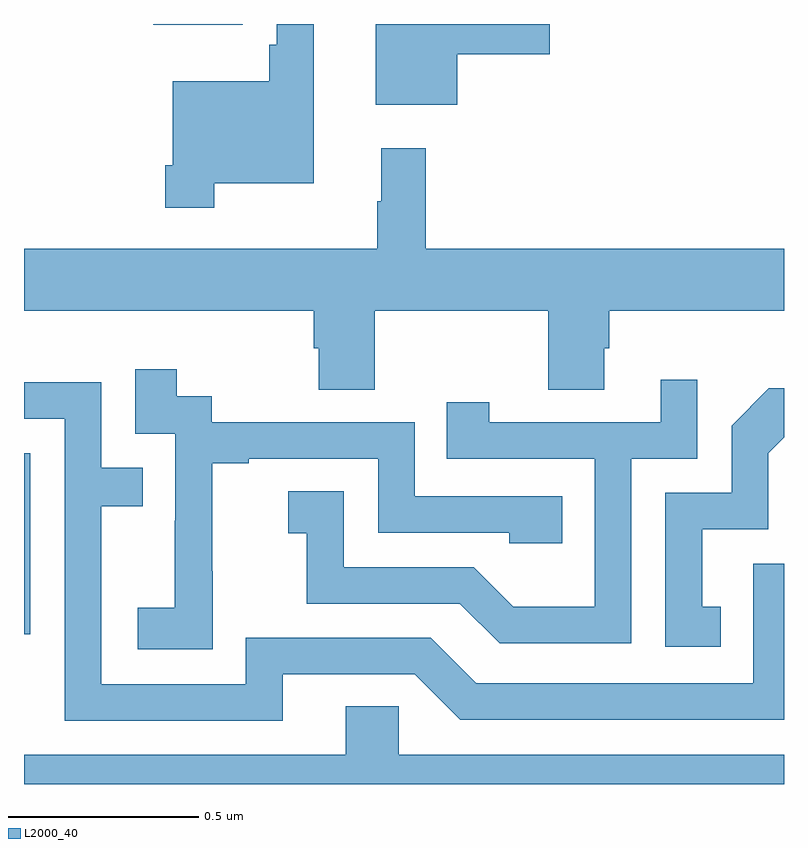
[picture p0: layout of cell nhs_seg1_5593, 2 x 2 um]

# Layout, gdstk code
import gdstk
lib = gdstk.Library(unit=1e-6, precision=1e-09)
def R(c, l, rs):  # rectangles x0, y0, x1, y1
    for r in rs: c.add(gdstk.rectangle(r[:2], r[2:], *l))
def P(c, l, *ps):  # polygons
    for p in ps: c.add(gdstk.Polygon(p, *l))
L2000_40 = (2000, 40)

nhs_seg1_5593 = lib.new_cell('nhs_seg1_5593')
R(nhs_seg1_5593, L2000_40, [(181,505.593,181.017,506.07), (181.34,507.197,181.576,507.199)])
P(nhs_seg1_5593, L2000_40, [(181.501,506.78),(181.762,506.78),(181.762,507.199),(181.665,507.199),(181.665,507.145),(181.645,507.145),(181.645,507.049),(181.392,507.049),(181.392,506.827),(181.372,506.827),(181.372,506.715),(181.501,506.715)],
  [(182.14,507.119),(182.383,507.119),(182.383,507.199),(181.925,507.199),(181.925,506.987),(182.14,506.987)],
  [(181.923,506.444),(182.38,506.444),(182.38,506.236),(182.527,506.236),(182.527,506.346),(182.54,506.346),(182.54,506.444),(183,506.444),(183,506.608),(182.057,506.608),(182.057,506.872),(181.94,506.872),(181.94,506.732),(181.929,506.732),(181.929,506.608),(181,506.608),(181,506.444),(181.763,506.444),(181.763,506.346),(181.775,506.346),(181.775,506.236),(181.923,506.236)],
  [(181.497,505.759),(181.496,505.759),(181.496,506.043),(181.591,506.043),(181.591,506.055),(181.932,506.055),(181.932,505.86),(182.277,505.86),(182.277,505.833),(182.417,505.833),(182.417,505.956),(182.028,505.956),(182.028,506.151),(181.494,506.151),(181.494,506.22),(181.402,506.22),(181.402,506.29),(181.293,506.29),(181.293,506.121),(181.398,506.121),(181.398,505.892),(181.397,505.892),(181.397,505.663),(181.299,505.663),(181.299,505.553),(181.497,505.553)],
  [(182.598,506.055),(182.772,506.055),(182.772,506.263),(182.675,506.263),(182.675,506.151),(182.224,506.151),(182.224,506.203),(182.113,506.203),(182.113,506.055),(182.502,506.055),(182.502,505.666),(182.288,505.666),(182.184,505.77),(181.842,505.77),(181.842,505.969),(181.695,505.969),(181.695,505.859),(181.744,505.859),(181.744,505.674),(182.147,505.674),(182.252,505.569),(182.598,505.569)],
  [(181.681,505.488),(182.028,505.488),(182.148,505.368),(183,505.368),(183,505.779),(182.919,505.779),(182.919,505.464),(182.19,505.464),(182.07,505.584),(181.584,505.584),(181.584,505.461),(181.203,505.461),(181.203,505.93),(181.313,505.93),(181.313,506.031),(181.203,506.031),(181.203,506.256),(181,506.256),(181,506.16),(181.107,506.16),(181.107,505.365),(181.681,505.365)],
  [(182.834,505.665),(182.785,505.665),(182.785,505.869),(182.958,505.869),(182.958,506.07),(183,506.112),(183,506.24),(182.96,506.24),(182.862,506.142),(182.862,505.965),(182.688,505.965),(182.688,505.56),(182.834,505.56)],
  [(183,505.276),(181.986,505.276),(181.986,505.403),(181.847,505.403),(181.847,505.276),(181,505.276),(181,505.199),(183,505.199)])

lib.write_gds('nhs_seg1_5593.gds')
